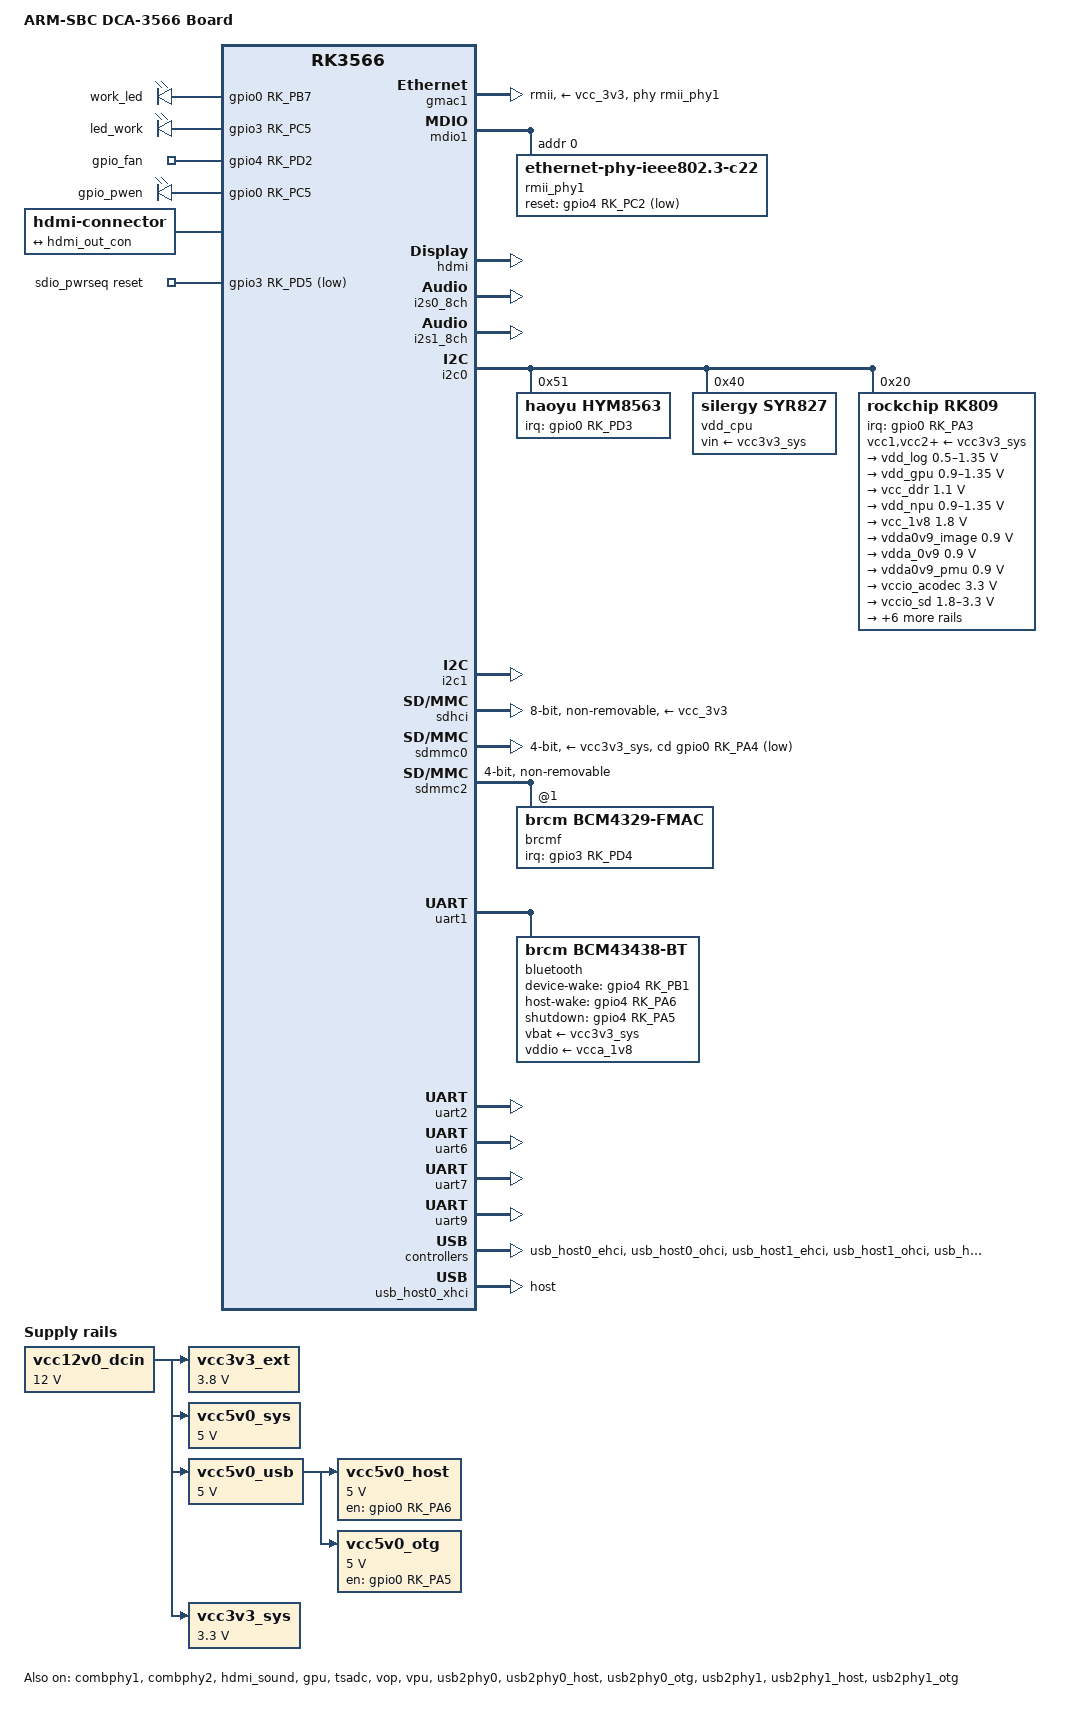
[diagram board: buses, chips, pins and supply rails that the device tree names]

// SPDX-License-Identifier: (GPL-2.0+ OR MIT)

/*
 * Author: Subair Mullappilly msubair@hotmail.com
 * Based on Quartz64 DT by: Peter Geis pgwipeout@gmail.com
 * based on BOX-DEMO DT by : Piotr Oniszczuk piotr.oniszczuk@gmail.com
 */

/dts-v1/;

#include <dt-bindings/gpio/gpio.h>
#include <dt-bindings/leds/common.h>
#include <dt-bindings/pinctrl/rockchip.h>
#include <dt-bindings/soc/rockchip,vop2.h>
#include "rk3566.dtsi"

/ {
	model = "ARM-SBC DCA-3566 Board";
	compatible = "arm-sbc dca-3566", "rockchip,rk3566";

	aliases {
		ethernet0 = &gmac1;
		mmc0 = &sdhci;
		mmc1 = &sdmmc0;
		serial1 = &uart6;
		serial3 = &uart7;
		serial4 = &uart9;
		
	};

	chosen: chosen {
		stdout-path = "serial2:1500000n8";
	};
	
	leds: leds {
		compatible = "gpio-leds";
		
		work_led: work {
			gpios = <&gpio0 RK_PB7 GPIO_ACTIVE_HIGH>;
			linux,default-trigger = "heartbeat";
			};
				
		 led_work: led-work {
		 	gpios = <&gpio3 RK_PC5 GPIO_ACTIVE_HIGH>; //speak audio
		 	default-state = "on";
		 	};
		 	
         gpio_fan: gpio-fan {
         	gpios = <&gpio4 RK_PD2 GPIO_ACTIVE_HIGH>; //4G_model
         	
         	};
         	
         gpio_pwen: gpio-pwen {
         	gpios = <&gpio0 RK_PC5 GPIO_ACTIVE_HIGH>; //gpio0 21
         	default-state = "on";
			};
	};
	
	hdmi-con {
		compatible = "hdmi-connector";
		type = "a";

		port {
			hdmi_con_in: endpoint {
				remote-endpoint = <&hdmi_out_con>;
			};
		};
	};

    rk809-sound {
		compatible = "simple-audio-card";
		simple-audio-card,format = "i2s";
		simple-audio-card,name = "ROCKCHIP-809-SOUND";
		simple-audio-card,mclk-fs = <256>;
		status = "okay";

		simple-audio-card,cpu {
			sound-dai = <&i2s1_8ch>;
		};

		simple-audio-card,codec {
			sound-dai = <&rk809>;
		};
	};

	sdio_pwrseq: sdio-pwrseq {
		status = "okay";
		compatible = "mmc-pwrseq-simple";
		clocks = <&rk809 1>;
		clock-names = "ext_clock";
		pinctrl-names = "default";
		pinctrl-0 = <&wifi_enable_h>;
		reset-gpios = <&gpio3 RK_PD5 GPIO_ACTIVE_LOW>;
		post-power-on-delay-ms = <100>;
		power-off-delay-us = <5000000>;
	};

	vcc12v0_dcin: regulator-vcc12v0-dcin {
		compatible = "regulator-fixed";
		regulator-name = "vcc12v0_dcin";
		regulator-always-on;
		regulator-boot-on;
		regulator-min-microvolt = <12000000>;
		regulator-max-microvolt = <12000000>;
	};
	
	vcc3v3_ext: regulator-vcc3v3-ext {
		compatible = "regulator-fixed";
		regulator-name = "vcc3v3_ext";
		regulator-always-on;
		regulator-boot-on;
		regulator-min-microvolt = <3800000>;
		regulator-max-microvolt = <3800000>;
		vin-supply = <&vcc12v0_dcin>;
	};

	vcc5v0_sys: regulator-vcc5v0-sys {
		compatible = "regulator-fixed";
		regulator-name = "vcc5v0_sys";
		regulator-always-on;
		regulator-boot-on;
		regulator-min-microvolt = <5000000>;
		regulator-max-microvolt = <5000000>;
		vin-supply = <&vcc12v0_dcin>;
	};
	
	vcc5v0_usb: vcc5v0-usb {
		compatible = "regulator-fixed";
		regulator-name = "vcc5v0_usb";
		regulator-always-on;
		regulator-boot-on;
		regulator-min-microvolt = <5000000>;
		regulator-max-microvolt = <5000000>;
		vin-supply = <&vcc12v0_dcin>;
	};

	vcc3v3_sys: regulator-vcc3v3-sys {
		compatible = "regulator-fixed";
		regulator-name = "vcc3v3_sys";
		regulator-always-on;
		regulator-boot-on;
		regulator-min-microvolt = <3300000>;
		regulator-max-microvolt = <3300000>;
		vin-supply = <&vcc12v0_dcin>;
	};
	
	vcc5v0_host: vcc5v0-host-regulator {
		compatible = "regulator-fixed";
		enable-active-high;
		gpio = <&gpio0 RK_PA6 GPIO_ACTIVE_HIGH>;
		pinctrl-names = "default";
		pinctrl-0 = <&vcc5v0_usb_host_en>;
		regulator-name = "vcc5v0_host";
		regulator-min-microvolt = <5000000>;
		regulator-max-microvolt = <5000000>;
		vin-supply = <&vcc5v0_usb>;
	};

	vcc5v0_otg: vcc5v0-otg-regulator {
		compatible = "regulator-fixed";
		enable-active-high;
		gpio = <&gpio0 RK_PA5 GPIO_ACTIVE_HIGH>;
		pinctrl-names = "default";
		pinctrl-0 = <&vcc5v0_usb_otg_en>;
		regulator-name = "vcc5v0_otg";
		regulator-min-microvolt = <5000000>;
		regulator-max-microvolt = <5000000>;
		vin-supply = <&vcc5v0_usb>;
	};
};

&gmac1 {
		phy-mode = "rmii";
		clock_in_out = "output";
		phy-supply = <&vcc_3v3>;
		assigned-clocks = <&cru SCLK_GMAC1_RX_TX>, <&cru SCLK_GMAC1>, <&cru CLK_MAC1_OUT>;
		assigned-clock-parents = <&cru SCLK_GMAC1_RMII_SPEED>;
		assigned-clock-rates = <0>, <50000000>, <25000000>;
		pinctrl-names = "default";
		pinctrl-0 = <&gmac1m0_miim &gmac1m0_clkinout &gmac1m0_rx_bus2 &gmac1m0_tx_bus2 &gmac1m0_rx_er &eth1m0_pins>;
		phy-handle = <&rmii_phy1>;
		status = "okay";
};

&mdio1 {
	rmii_phy1: ethernet-phy@0 {
		compatible = "ethernet-phy-ieee802.3-c22";
		reg = <0x0>;
		clocks = <&cru CLK_MAC1_OUT>;
		reset-assert-us = <20000>;
		reset-deassert-us = <100000>;
		reset-gpios = <&gpio4 RK_PC2 GPIO_ACTIVE_LOW>;
		pinctrl-names = "default";
		pinctrl-0 = <&eth_phy_rstn>;
	};
};

&combphy1 {
	status = "okay";
};

&combphy2 {
	status = "okay";
};

&cpu0 {
	cpu-supply = <&vdd_cpu>;
};

&cpu1 {
	cpu-supply = <&vdd_cpu>;
};

&cpu2 {
	cpu-supply = <&vdd_cpu>;
};

&cpu3 {
	cpu-supply = <&vdd_cpu>;
};

&hdmi {
	assigned-clocks = <&cru CLK_HDMI_CEC>;
	assigned-clock-rates = <32768>;
	avdd-0v9-supply = <&vdda_0v9>;
	avdd-1v8-supply = <&vcca_1v8>;
	status = "okay";
};

&hdmi_in {
	hdmi_in_vp0: endpoint {
		remote-endpoint = <&vp0_out_hdmi>;
	};
};

&hdmi_out {
	hdmi_out_con: endpoint {
		remote-endpoint = <&hdmi_con_in>;
	};
};

&hdmi_sound {
	status = "okay";
};

&gpu {
	mali-supply = <&vdd_gpu>;
	status = "okay";
};

&i2s0_8ch {
	status = "okay";
};

&i2s1_8ch {
	pinctrl-names = "default";
	pinctrl-0 = <&i2s1m0_sclktx
		     &i2s1m0_lrcktx
		     &i2s1m0_sdi0
		     &i2s1m0_sdo0>;
	rockchip,trcm-sync-tx-only;
	status = "okay";
};

&i2c0 {
	status = "okay";

    hym8563: hym8563@51 {
		compatible = "haoyu,hym8563";
		reg = <0x51>;
		irq-gpios = <&gpio0 RK_PD3 GPIO_ACTIVE_HIGH>;
		#clock-cells = <0>;
		clock-output-names = "hym8563";
	};
	
	vdd_cpu: regulator@40 {
		compatible = "silergy,syr827";
		reg = <0x40>;
		fcs,suspend-voltage-selector = <1>;
		regulator-name = "vdd_cpu";
		regulator-always-on;
		regulator-boot-on;
		regulator-min-microvolt = <830000>;
		regulator-max-microvolt = <1200000>;
		regulator-ramp-delay = <2300>;
		vin-supply = <&vcc3v3_sys>;

		regulator-state-mem {
			regulator-off-in-suspend;
		};
	};

	rk809: pmic@20 {
		compatible = "rockchip,rk809";
		reg = <0x20>;
		interrupt-parent = <&gpio0>;
		interrupts = <RK_PA3 IRQ_TYPE_LEVEL_LOW>;
		clock-output-names = "rk808-clkout1", "rk808-clkout2";
		assigned-clocks = <&cru I2S1_MCLKOUT_TX>;
		assigned-clock-parents = <&cru CLK_I2S1_8CH_TX>;
		clock-names = "mclk";
		clocks = <&cru I2S1_MCLKOUT_TX>;
		pinctrl-names = "default";
		pinctrl-0 = <&pmic_int>, <&i2s1m0_mclk>;
		rockchip,system-power-controller;
		wakeup-source;
		#clock-cells = <1>;
		#sound-dai-cells = <0>;

		vcc1-supply = <&vcc3v3_sys>;
		vcc2-supply = <&vcc3v3_sys>;
		vcc3-supply = <&vcc3v3_sys>;
		vcc4-supply = <&vcc3v3_sys>;
		vcc5-supply = <&vcc3v3_sys>;
		vcc6-supply = <&vcc3v3_sys>;
		vcc7-supply = <&vcc3v3_sys>;
		vcc8-supply = <&vcc3v3_sys>;
		vcc9-supply = <&vcc3v3_sys>;

		codec {
			rockchip,mic-in-differential;
		};

		regulators {
			vdd_log: DCDC_REG1 {
				regulator-name = "vdd_log";
				regulator-always-on;
				regulator-boot-on;
				regulator-min-microvolt = <500000>;
				regulator-max-microvolt = <1350000>;
				regulator-ramp-delay = <6001>;

				regulator-state-mem {
					regulator-on-in-suspend;
					regulator-suspend-microvolt = <900000>;
				};
			};

			vdd_gpu: DCDC_REG2 {
				regulator-name = "vdd_gpu";
				regulator-min-microvolt = <900000>;
				regulator-max-microvolt = <1350000>;
				regulator-ramp-delay = <6001>;

				regulator-state-mem {
					regulator-off-in-suspend;
					regulator-suspend-microvolt = <900000>;
				};
			};

			vcc_ddr: DCDC_REG3 {
				regulator-name = "vcc_ddr";
				regulator-always-on;
				regulator-boot-on;
				regulator-min-microvolt = <1100000>;
				regulator-max-microvolt = <1100000>;
				regulator-initial-mode = <0x2>;
				regulator-state-mem {
					regulator-on-in-suspend;
				};
			};

			vdd_npu: DCDC_REG4 {
				regulator-name = "vdd_npu";
				regulator-min-microvolt = <900000>;
				regulator-max-microvolt = <1350000>;
				regulator-initial-mode = <0x2>;
				regulator-state-mem {
					regulator-off-in-suspend;
				};
			};

			vcc_1v8: DCDC_REG5 {
				regulator-name = "vcc_1v8";
				regulator-always-on;
				regulator-boot-on;
				regulator-min-microvolt = <1800000>;
				regulator-max-microvolt = <1800000>;

				regulator-state-mem {
					regulator-on-in-suspend;
					regulator-suspend-microvolt = <1800000>;
				};
			};

			vdda0v9_image: LDO_REG1 {
				regulator-name = "vdda0v9_image";
				regulator-always-on;
				regulator-boot-on;
				regulator-min-microvolt = <900000>;
				regulator-max-microvolt = <900000>;

				regulator-state-mem {
					regulator-on-in-suspend;
					regulator-suspend-microvolt = <900000>;
				};
			};

			vdda_0v9: LDO_REG2 {
				regulator-name = "vdda_0v9";
				regulator-always-on;
				regulator-boot-on;
				regulator-min-microvolt = <900000>;
				regulator-max-microvolt = <900000>;

				regulator-state-mem {
					regulator-on-in-suspend;
					regulator-suspend-microvolt = <900000>;
				};
			};

			vdda0v9_pmu: LDO_REG3 {
				regulator-name = "vdda0v9_pmu";
				regulator-always-on;
				regulator-boot-on;
				regulator-min-microvolt = <900000>;
				regulator-max-microvolt = <900000>;
				regulator-state-mem {
					regulator-on-in-suspend;
					regulator-suspend-microvolt = <900000>;
				};
			};

			vccio_acodec: LDO_REG4 {
				regulator-name = "vccio_acodec";
				regulator-always-on;
				regulator-boot-on;
				regulator-min-microvolt = <3300000>;
				regulator-max-microvolt = <3300000>;

				regulator-state-mem {
					regulator-on-in-suspend;
					regulator-suspend-microvolt = <3300000>;

				};
			};

			vccio_sd: LDO_REG5 {
				regulator-name = "vccio_sd";
				regulator-always-on;
				regulator-boot-on;
				regulator-min-microvolt = <1800000>;
				regulator-max-microvolt = <3300000>;

				regulator-state-mem {
					regulator-on-in-suspend;
					regulator-suspend-microvolt = <3300000>;
				};
			};

			vcc3v3_pmu: LDO_REG6 {
				regulator-name = "vcc3v3_pmu";
				regulator-always-on;
				regulator-boot-on;
				regulator-min-microvolt = <3300000>;
				regulator-max-microvolt = <3300000>;

				regulator-state-mem {
					regulator-on-in-suspend;
					regulator-suspend-microvolt = <3300000>;
				};
			};

			vcca_1v8: LDO_REG7 {
				regulator-name = "vcca_1v8";
				regulator-always-on;
				regulator-boot-on;
				regulator-min-microvolt = <1800000>;
				regulator-max-microvolt = <1800000>;

				regulator-state-mem {
					regulator-on-in-suspend;
					regulator-suspend-microvolt = <1800000>;
				};
			};

			vcca1v8_pmu: LDO_REG8 {
				regulator-name = "vcca1v8_pmu";
				regulator-always-on;
				regulator-boot-on;
				regulator-min-microvolt = <1800000>;
				regulator-max-microvolt = <1800000>;

				regulator-state-mem {
					regulator-on-in-suspend;
					regulator-suspend-microvolt = <1800000>;
				};
			};

			vcca1v8_image: LDO_REG9 {
				regulator-name = "vcca1v8_image";
				regulator-always-on;
				regulator-boot-on;
				regulator-min-microvolt = <1800000>;
				regulator-max-microvolt = <1800000>;

				regulator-state-mem {
					regulator-on-in-suspend;
					regulator-suspend-microvolt = <1800000>;
				};
			};

			vcc_3v3: SWITCH_REG1 {
				regulator-boot-on;
				regulator-name = "vcc3v3";
			};

			vcc3v3_sd: SWITCH_REG2 {
				regulator-name = "vcc3v3_sd";
				regulator-always-on;
				regulator-boot-on;
			};
		};
	};
};

&i2c1 {
	status = "okay";
};

&pinctrl {
	bt {
		bt_enable_h: bt-enable-h {
			rockchip,pins = <4 RK_PA5 RK_FUNC_GPIO &pcfg_pull_none>;
		};

		bt_host_wake_l: bt-host-wake-l {
			rockchip,pins = <4 RK_PA6 RK_FUNC_GPIO &pcfg_pull_down>;
		};

		bt_wake_l: bt-wake-l {
			rockchip,pins = <4 RK_PB1 RK_FUNC_GPIO &pcfg_pull_none>;
		};
	};

	sdio-pwrseq {
		wifi_enable_h: wifi-enable-h {
			rockchip,pins = <3 RK_PD5 RK_FUNC_GPIO &pcfg_pull_none>;
		};

		wifi_host_wake_h: wifi-host-wake-l {
			rockchip,pins = <3 RK_PD4 RK_FUNC_GPIO &pcfg_pull_none>;
		};
	};

	gmac1 {
		eth_phy_rstn: eth-phy-rstn{
			rockchip,pins = <4 RK_PC2 RK_FUNC_GPIO &pcfg_pull_up>;
		};
		
	};

	pmic {
		pmic_int: pmic_int {
			rockchip,pins =
				<0 RK_PA3 RK_FUNC_GPIO &pcfg_pull_up>;
		};
	};

	usb {
		vcc5v0_usb_host_en: vcc5v0_usb_host_en {
			rockchip,pins = <0 RK_PA6 RK_FUNC_GPIO &pcfg_pull_none>;
		};

		vcc5v0_usb_otg_en: vcc5v0_usb2_otg_en {
			rockchip,pins = <0 RK_PA5 RK_FUNC_GPIO &pcfg_pull_none>;
		};

	};

	ir {
		ir_int: ir-int {
			rockchip,pins = <4 RK_PC3 RK_FUNC_GPIO &pcfg_pull_none>;
		};
	};

};

&pmu_io_domains {
	pmuio1-supply = <&vcc3v3_pmu>;
	pmuio2-supply = <&vcca1v8_pmu>;
	vccio1-supply = <&vccio_acodec>;
	vccio2-supply = <&vcc_1v8>;
	vccio3-supply = <&vccio_sd>;
	vccio4-supply = <&vcc_3v3>;
	vccio5-supply = <&vcc_3v3>;
	vccio6-supply = <&vcc_3v3>;
	vccio7-supply = <&vcc_3v3>;
	status = "okay";
};

&sdhci {
	bus-width = <8>;
	mmc-hs200-1_8v;
	non-removable;
	vmmc-supply = <&vcc_3v3>;
	vqmmc-supply = <&vcc_1v8>;
	status = "okay";
};

&sdmmc0 {
	bus-width = <4>;
	cap-sd-highspeed;
	cd-gpios = <&gpio0 RK_PA4 GPIO_ACTIVE_LOW>;
	disable-wp;
	pinctrl-names = "default";
	pinctrl-0 = <&sdmmc0_bus4 &sdmmc0_clk &sdmmc0_cmd &sdmmc0_det>;
	vmmc-supply = <&vcc3v3_sys>;
	vqmmc-supply = <&vccio_sd>;
	status = "okay";
};

&sdmmc2 {
	max-frequency = <150000000>;
	supports-sdio;
	bus-width = <4>;
	disable-wp;
	cap-sd-highspeed;
	cap-sdio-irq;
	keep-power-in-suspend;
	mmc-pwrseq = <&sdio_pwrseq>;
	non-removable;
	pinctrl-names = "default";
	pinctrl-0 = <&sdmmc2m0_bus4 &sdmmc2m0_cmd &sdmmc2m0_clk>;
	sd-uhs-sdr104;
	status = "okay";

    brcmf: wifi@1 {
		compatible = "brcm,bcm4329-fmac";
		interrupt-parent = <&gpio3>;
		interrupts = <RK_PD4 IRQ_TYPE_LEVEL_HIGH>;
		interrupt-names = "host-wake";
		pinctrl-names = "default";
		pinctrl-0 = <&wifi_host_wake_h>;
    };
};

&tsadc {
	/* tshut mode 0:CRU 1:GPIO */
	rockchip,hw-tshut-mode = <1>;
	/* tshut polarity 0:LOW 1:HIGH */
	rockchip,hw-tshut-polarity = <0>;
	status = "okay";
};

&uart1 {
	dma-names = "tx", "rx";
	pinctrl-names = "default";
	pinctrl-0 = <&uart1m1_rtsn>, <&uart1m1_xfer>, <&uart1m1_ctsn>;
	status = "okay";
	uart-has-rtscts;

	bluetooth {
		compatible = "brcm,bcm43438-bt";
		clocks = <&rk809 1>;
		clock-names = "lpo";
		device-wake-gpios = <&gpio4 RK_PB1 GPIO_ACTIVE_HIGH>;
		host-wake-gpios = <&gpio4 RK_PA6 GPIO_ACTIVE_HIGH>;
		shutdown-gpios = <&gpio4 RK_PA5 GPIO_ACTIVE_HIGH>;
		pinctrl-names = "default";
		pinctrl-0 = <&bt_host_wake_l &bt_wake_l &bt_enable_h>;
		vbat-supply = <&vcc3v3_sys>;
		vddio-supply = <&vcca_1v8>;
	};
};

&uart2 {
	status = "okay";
};

&uart6 {
	status = "okay";
};

&uart7 {
	status = "okay";
};

&uart9 {
	status = "okay";
};


&vop {
	assigned-clocks = <&cru DCLK_VOP0>, <&cru DCLK_VOP1>;
	assigned-clock-parents = <&pmucru PLL_HPLL>, <&cru PLL_VPLL>;
	status = "okay";
};

&vop_mmu {
	status = "okay";
};

&vp0 {
	vp0_out_hdmi: endpoint@ROCKCHIP_VOP2_EP_HDMI0 {
		reg = <ROCKCHIP_VOP2_EP_HDMI0>;
		remote-endpoint = <&hdmi_in_vp0>;
	};
};

&vpu {
	status = "okay";
};

&vdpu_mmu {
	status = "okay";
};

&usb_host0_ehci {
	status = "okay";
};

&usb_host0_ohci {
	status = "okay";
};

&usb_host0_xhci {
	dr_mode = "host";
	status = "okay";
};

&usb_host1_ehci {
	status = "okay";
};

&usb_host1_ohci {
	status = "okay";
};

&usb_host1_xhci {
	status = "okay";
};

&usb2phy0 {
	status = "okay";
};

&usb2phy0_host {
	phy-supply = <&vcc5v0_host>;
	status = "okay";
};

&usb2phy0_otg {
	phy-supply = <&vcc5v0_otg>;
	status = "okay";
};

&usb2phy1 {
	status = "okay";
};

&usb2phy1_host {
	phy-supply = <&vcc5v0_host>;
	status = "okay";
};

&usb2phy1_otg {
	phy-supply = <&vcc5v0_host>;
	status = "okay";
};
